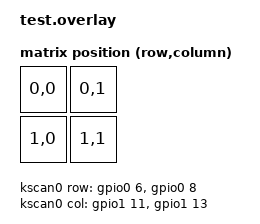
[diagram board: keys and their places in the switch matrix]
#include <dt-bindings/zmk/matrix_transform.h> // Put this with the other includes at the top of your overlay

/ {
    chosen {
        zmk,physical-layout = &physical_layout0;
        // Other chosen items
    };

    default_transform: keymap_transform0 {
        compatible = "zmk,matrix-transform";
        columns = <2>; // Length of the "col-gpios" array
        rows = <2>; // Length of the "row-gpios" array
        map = <
        //   Key 1 | Key 2
            RC(0,0) RC(0,1)
        //   Key 3 | Key 4
            RC(1,0) RC(1,1)
        >;
    };

    physical_layout0: physical_layout_0 { // First physical layout, use different naming for other layouts
        compatible = "zmk,physical-layout";
        display-name = "Default Layout";
        kscan = <&kscan0>; // Label of the kscan node, optional if all layouts use the same
        transform = <&default_transform>; // Label of the matrix transform for this layout
    };

    kscan0: kscan0 {
        compatible = "zmk,kscan-gpio-matrix";
        diode-direction = "col2row";
        wakeup-source;

    	col-gpios
            = <&gpio1 11 GPIO_ACTIVE_HIGH>	//Col0
            , <&gpio1 13 GPIO_ACTIVE_HIGH>  //Col1
            ;

        row-gpios
            = <&gpio0 6 (GPIO_ACTIVE_HIGH | GPIO_PULL_DOWN)>     //Row0
            , <&gpio0 8 (GPIO_ACTIVE_HIGH | GPIO_PULL_DOWN)>     //Row1
            ;
    };
};
